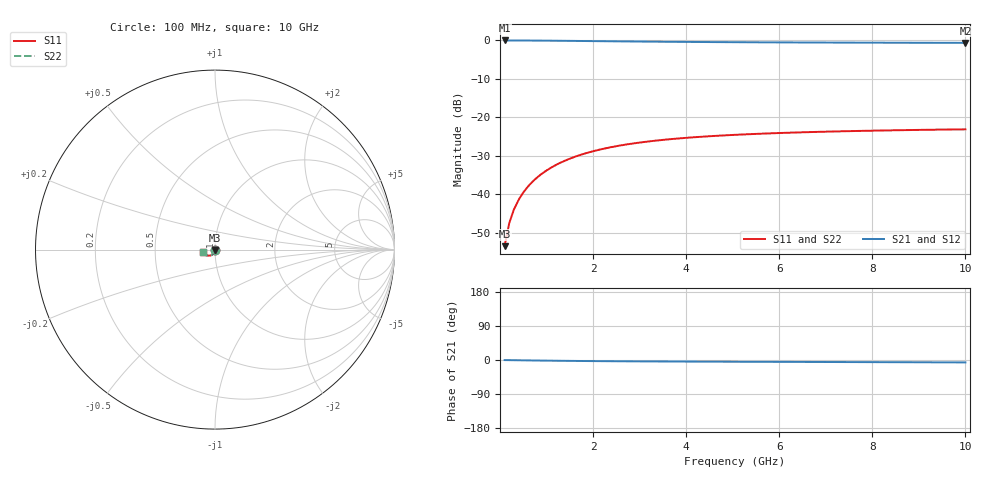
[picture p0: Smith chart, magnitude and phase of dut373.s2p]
! Touchstone file exported from HFSS 2024.1.0
!  File:  C:/UserFiles/LocalFiles/RDL_TSV_Batchsim/temp_TSV1_373_1779622086.aedt
!  Generated:  07:36:22 PM May 24, 2026
!  Design:  TSV1
!  Project:  temp_TSV1_373_1779622086
!  Setup:  Setup1
!  Solution:  Sweep
! Variables:
!  dtsv = 13.74um
!  hbump = 3um
!  htsv = 99.97um
!  lrdl = 252.1521522um
!  p = 40
!  p1 = 53.84um
!  t = 500um
!  trdl = 3um
!  wrdl = 24.89489489um
# GHz S MA R 50.000000
! Terminal data exported
! Port[1] = TSV22_T1
! Port[2] = TSV22_T2
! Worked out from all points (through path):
!   100 points, 100 MHz to 10 GHz, reference 50 ohm
!   highest |S21| = 0.00 dB at 100 MHz (marker M1); lowest = -0.6 dB at 10 GHz (marker M2)
!   lowest |S11| = -53.4 dB at 100 MHz (marker M3), VSWR 1.00, Z = 50 - j0.213 ohm
!   |S11| at or under -10 dB: start of sweep to end of sweep
!   |S22| runs from -53.4 to -23.1 dB; largest |S21 - S12| = 3.2e-15
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0.1  0.002132 -89.2  0.9998 -0.2  0.9998 -0.2  0.002132 -89.2
! Gamma 0 0 0 0
! Port Impedance 50 0 50 0
0.2  0.00426 -92.2  0.9996 -0.4  0.9996 -0.4  0.00426 -92.2
0.3  0.006385 -94.4  0.9992 -0.5  0.9992 -0.5  0.006385 -94.4
0.4  0.008497 -96.5  0.9988 -0.7  0.9988 -0.7  0.008497 -96.5
0.5  0.01059 -98.4  0.9982 -0.9  0.9982 -0.9  0.01059 -98.4
0.6  0.01265 -100.3  0.9974 -1.0  0.9974 -1.0  0.01265 -100.3
0.7  0.01467 -102.2  0.9966 -1.2  0.9966 -1.2  0.01467 -102.2
0.8  0.01666 -104.0  0.9957 -1.4  0.9957 -1.4  0.01666 -104.0
0.9  0.0186 -105.8  0.9947 -1.5  0.9947 -1.5  0.0186 -105.8
1.1  0.02233 -109.2  0.9925 -1.8  0.9925 -1.8  0.02233 -109.2
1.4  0.02753 -114.1  0.9887 -2.2  0.9887 -2.2  0.02753 -114.1
1.6  0.03072 -117.1  0.986 -2.5  0.986 -2.5  0.03072 -117.1
1.8  0.03368 -120.0  0.9833 -2.7  0.9833 -2.7  0.03368 -120.0
2.1  0.03771 -124.1  0.9791 -3.0  0.9791 -3.0  0.03771 -124.1
2.5  0.04237 -128.9  0.9738 -3.3  0.9738 -3.3  0.04237 -128.9
2.9  0.04631 -133.3  0.9688 -3.6  0.9688 -3.6  0.04631 -133.3
3.4  0.05041 -138.0  0.9631 -3.9  0.9631 -3.9  0.05041 -138.0
4.2  0.05549 -144.4  0.9555 -4.2  0.9555 -4.2  0.05549 -144.4
5.1  0.05968 -150.2  0.9488 -4.6  0.9488 -4.6  0.05968 -150.2
6.7  0.06468 -158.2  0.9404 -5.2  0.9404 -5.2  0.06468 -158.2
8.4  0.06803 -164.7  0.9344 -5.8  0.9344 -5.8  0.06803 -164.7
10  0.07018 -169.6  0.9306 -6.4  0.9306 -6.4  0.07017 -169.6
